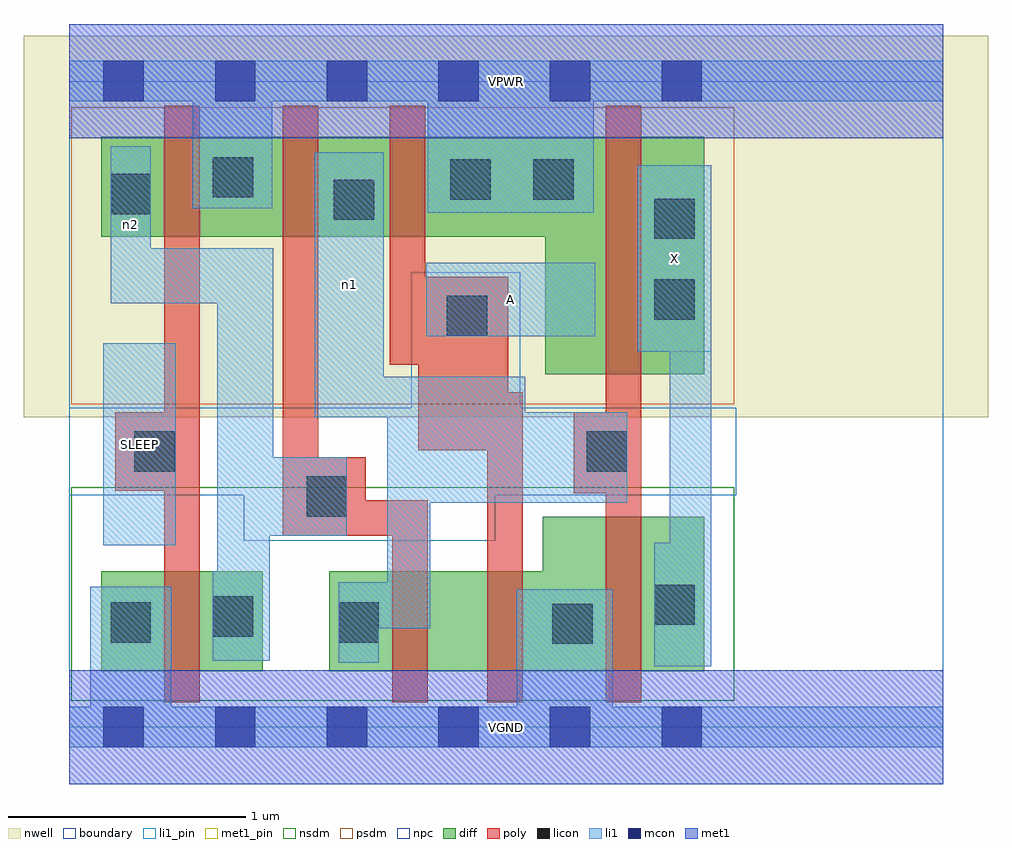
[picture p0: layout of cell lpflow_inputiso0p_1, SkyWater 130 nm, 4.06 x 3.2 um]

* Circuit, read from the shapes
.subckt lpflow_inputiso0p_1 A SLEEP VGND VPWR X n1 n2
XM1 n2 SLEEP VGND VSUBS sky130_fd_pr__nfet_01v8 w=0.42 l=0.15
XM2 n3 n2 n1 VSUBS sky130_fd_pr__nfet_01v8 w=0.42 l=0.15
XM3 VGND A n3 VSUBS sky130_fd_pr__nfet_01v8 w=0.42 l=0.15
XM4 X n1 VGND VSUBS sky130_fd_pr__nfet_01v8 w=0.65 l=0.15
XM5 VPWR SLEEP n2 n4 sky130_fd_pr__pfet_01v8 w=0.42 l=0.15
XM6 n1 n2 VPWR n4 sky130_fd_pr__pfet_01v8 w=0.42 l=0.15
XM7 VPWR A n1 n4 sky130_fd_pr__pfet_01v8 w=0.42 l=0.15
XM8 X n1 VPWR n4 sky130_fd_pr__pfet_01v8 w=1 l=0.15
.ends

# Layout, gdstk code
import gdstk
lib = gdstk.Library(unit=1e-6, precision=1e-09)
def R(c, l, rs):  # rectangles x0, y0, x1, y1
    for r in rs: c.add(gdstk.rectangle(r[:2], r[2:], *l))
def A(c, l, x, y, w, h, nx, ny, dx, dy):  # array of equal rectangles
    R(c, l, [(x+i*dx, y+j*dy, x+i*dx+w, y+j*dy+h) for i in range(nx) for j in range(ny)])
nwell = (64, 20)
diff = (65, 20)
poly = (66, 20)
licon = (66, 44)
li1_pin = (67, 16)
li1 = (67, 20)
mcon = (67, 44)
met1_pin = (68, 16)
met1 = (68, 20)
nsdm = (93, 44)
psdm = (94, 20)
npc = (95, 20)
boundary = (235, 4)

lpflow_inputiso0p_1 = lib.new_cell('lpflow_inputiso0p_1')
R(lpflow_inputiso0p_1, nwell, [(-0.19,1.305,3.87,2.91), (0,1.305,3.68,2.91)])
R(lpflow_inputiso0p_1, diff, [(0.135,0.235,0.815,0.655), (1.095,0.235,2.675,0.655), (1.995,0.235,2.675,0.885), (2.005,1.485,2.675,2.485), (0.135,2.065,2.675,2.485)])
R(lpflow_inputiso0p_1, poly, [(0.4,0.105,0.55,2.615), (1.36,0.105,1.51,0.955), (1.76,0.105,1.91,1.41), (2.26,0.105,2.41,2.615), (0.9,0.805,1.05,2.615), (0.9,0.805,1.25,1.135), (0.9,0.805,1.51,0.955), (2.125,0.985,2.41,1.325), (0.195,0.995,0.55,1.325), (1.47,1.165,1.85,1.895), (1.35,1.525,1.5,2.615)])
R(lpflow_inputiso0p_1, licon, [(2.035,0.35,2.205,0.52), (0.175,0.355,0.345,0.525), (1.135,0.355,1.305,0.525), (0.605,0.38,0.775,0.55), (2.465,0.43,2.635,0.6), (1,0.885,1.17,1.055), (0.275,1.075,0.445,1.245), (2.18,1.075,2.35,1.245), (1.59,1.645,1.76,1.815), (2.465,1.715,2.635,1.885), (2.465,2.055,2.635,2.225), (1.115,2.135,1.285,2.305), (0.175,2.16,0.345,2.33), (1.605,2.22,1.775,2.39), (1.955,2.22,2.125,2.39), (0.605,2.23,0.775,2.4)])
R(lpflow_inputiso0p_1, li1_pin, [(0.145,0.765,0.45,1.615), (2.395,1.58,2.705,2.365), (1.505,1.645,2.215,1.955)])
R(lpflow_inputiso0p_1, li1, [(0,-0.085,3.68,0.085), (0.09,-0.085,0.43,0.59), (1.885,-0.085,2.29,0.58), (2.465,0.255,2.705,0.775), (2.53,0.255,2.705,2.365), (1.135,0.27,1.305,0.61), (0.605,0.28,0.845,0.655), (0.625,0.28,0.845,2.015), (1.135,0.415,1.52,0.61), (1.34,0.415,1.52,1.475), (0.145,0.765,0.45,1.615), (0.625,0.805,1.17,1.135), (0.625,0.805,0.86,2.015), (1.34,0.945,2.35,1.325), (1.035,1.305,1.325,2.42), (1.035,1.305,1.92,1.475), (2.395,1.58,2.705,2.365), (1.505,1.645,2.215,1.955), (0.175,1.785,0.345,2.445), (0.175,1.785,0.86,2.015), (1.51,2.165,2.21,2.805), (0.52,2.185,0.855,2.805), (0,2.635,3.68,2.805)])
A(lpflow_inputiso0p_1, mcon, 0.145, -0.085, 0.17, 0.17, 6, 2, 0.47, 2.72)
R(lpflow_inputiso0p_1, met1_pin, [(0,-0.24,3.68,0.24), (0,2.48,3.68,2.96)])
R(lpflow_inputiso0p_1, met1, [(0,-0.24,3.68,0.24), (0,2.48,3.68,2.96)])
R(lpflow_inputiso0p_1, nsdm, [(0.01,0.11,2.8,1.01)])
R(lpflow_inputiso0p_1, psdm, [(0.01,1.36,2.8,2.61)])
R(lpflow_inputiso0p_1, npc, [(0.735,0.785,1.795,1.345), (0,0.975,2.81,1.345), (1.44,0.975,1.9,1.915)])
R(lpflow_inputiso0p_1, boundary, [(0,0,3.68,2.72)])
lpflow_inputiso0p_1.add(gdstk.Label('A', (1.86,1.8), layer=67, texttype=5))
lpflow_inputiso0p_1.add(gdstk.Label('SLEEP', (0.297,1.19), layer=67, texttype=5))
lpflow_inputiso0p_1.add(gdstk.Label('X', (2.55,1.972), layer=67, texttype=5))
lpflow_inputiso0p_1.add(gdstk.Label('n1', (1.18,1.862), layer=67, texttype=5))
lpflow_inputiso0p_1.add(gdstk.Label('n2', (0.26,2.115), layer=67, texttype=5))
lpflow_inputiso0p_1.add(gdstk.Label('VPWR', (1.84,2.72), layer=68, texttype=5))
lpflow_inputiso0p_1.add(gdstk.Label('VGND', (1.84,0), layer=68, texttype=5))
lpflow_inputiso0p_1.add(gdstk.Label('A', (1.86,1.8), layer=67, texttype=16))
lpflow_inputiso0p_1.add(gdstk.Label('SLEEP', (0.297,1.19), layer=67, texttype=16))
lpflow_inputiso0p_1.add(gdstk.Label('X', (2.55,1.972), layer=67, texttype=16))
lpflow_inputiso0p_1.add(gdstk.Label('VPWR', (1.84,2.72), layer=68, texttype=16))
lpflow_inputiso0p_1.add(gdstk.Label('VGND', (1.84,0), layer=68, texttype=16))

lib.write_gds('lpflow_inputiso0p_1.gds')
